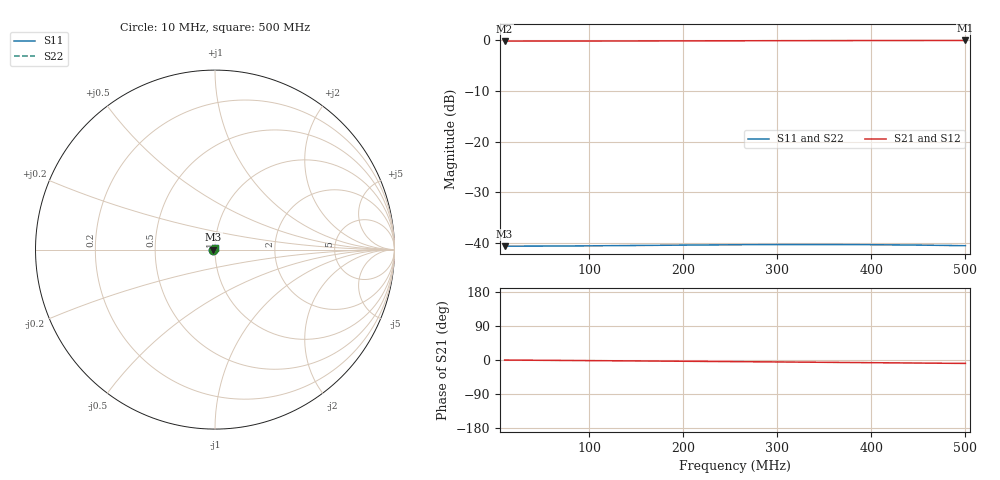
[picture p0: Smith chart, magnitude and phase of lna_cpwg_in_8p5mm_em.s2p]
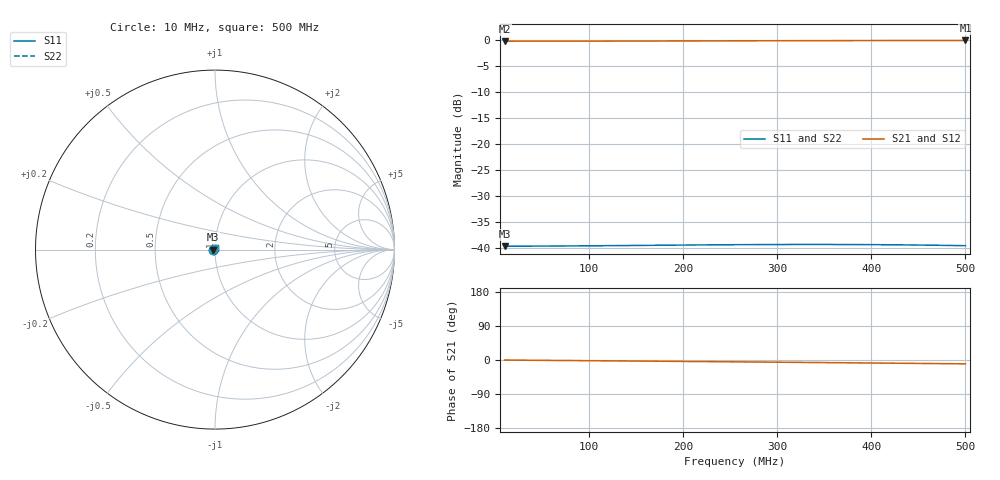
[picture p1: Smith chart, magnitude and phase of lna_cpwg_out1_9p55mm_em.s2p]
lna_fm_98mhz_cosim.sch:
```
<Qucs Schematic 25.2.0>
<Properties>
  <View=-50,-80,1200,800,1,0,0>
  <Grid=10,10,1>
  <DataSet=lna_fm_98mhz_cosim.dat>
  <DataDisplay=lna_fm_98mhz_cosim.dpl>
  <OpenDisplay=1>
  <Script=>
  <RunScript=0>
  <showFrame=0>
  <FrameText0=Title>
  <FrameText1=Drawn By:>
  <FrameText2=Date:>
  <FrameText3=Revision:>
</Properties>
<Symbol>
</Symbol>
<Components>
<SUBST Subst1 1 80 520 -30 24 0 0 "4.5" 1 "1.6 mm" 1 "35 um" 1 "0.02" 1 "1.72e-08" 0 "1.5e-07" 0>
<Pac P1 1 40 290 -85 -20 0 1 "1" 1 "50 Ohm" 1 "0 dBm" 0 "98 MHz" 0 "26.85" 0 "true" 0>
<GND * 1 40 320 0 0 0 0>
<SPfile TL_IN 1 100 260 -35 -40 0 0 "lna_cpwg_in_8p5mm_em.s2p" 1 "rectangular" 0 "linear" 0 "open" 0 "2" 0>
<L L1 1 180 290 -35 -26 0 1 "22 nH" 1 "" 0>
<GND * 1 180 320 0 0 0 0>
<C C2 1 210 290 15 -26 0 1 "27 pF" 1 "" 0 "neutral" 0>
<GND * 1 210 320 0 0 0 0>
<C C1 1 260 260 -25 -55 0 0 "91 pF" 1 "" 0 "neutral" 0>
<L L2 1 360 290 15 -26 0 1 "470 nH" 1 "" 0>
<R R3 1 360 350 15 -26 0 1 "200 Ohm" 1 "26.85" 0 "0.0" 0 "0.0" 0 "26.85" 0 "european" 0>
<GND * 1 360 380 0 0 0 0>
<_BJT Q1 1 540 230 15 10 0 0 "npn" 0 "1e-14" 0 "1" 0 "1" 0 "0.1" 0 "0.01" 0 "50" 0 "10" 0 "1e-14" 0 "1.5" 0 "0" 0 "2" 0 "90" 0 "2" 0 "0" 0 "0" 0 "10" 0 "1" 0 "5" 0 "1.2e-12" 0 "0.7" 0 "0.33" 0 "1e-12" 0 "0.5" 0 "0.33" 0 "1" 0 "0" 0 "0.75" 0 "0.33" 0 "0.5" 0 "0.09e-9" 0 "10e-9" 0 "10" 0 "1" 0 "0.1" 0>
<C C3 1 180 170 12 -15 0 1 "100 pF" 1 "" 0 "neutral" 0>
<GND * 1 180 200 0 0 0 0>
<C C4 1 260 170 12 -15 0 1 "1 nF" 1 "" 0 "neutral" 0>
<GND * 1 260 200 0 0 0 0>
<C C5 1 340 170 12 -15 0 1 "100 nF" 1 "" 0 "neutral" 0>
<GND * 1 340 200 0 0 0 0>
<R R2 1 420 170 15 -15 0 1 "3.3 kOhm" 1 "26.85" 0 "0.0" 0 "0.0" 0 "26.85" 0 "european" 0>
<GND * 1 420 200 0 0 0 0>
<R R1 1 470 105 15 -26 0 1 "3.9 kOhm" 1 "26.85" 0 "0.0" 0 "0.0" 0 "26.85" 0 "european" 0>
<Vdc VCC 1 80 100 -75 -20 0 1 "5 V" 1>
<GND * 1 80 130 0 0 0 0>
<C C11 1 150 100 15 -20 0 1 "10 uF" 1 "" 0 "neutral" 0>
<GND * 1 150 130 0 0 0 0>
<C C12 1 240 100 15 -20 0 1 "100 nF" 1 "" 0 "neutral" 0>
<GND * 1 240 130 0 0 0 0>
<CLIN TL_COL 1 600 200 -26 -105 0 0 "Subst1" 0 "1.0 mm" 1 "0.35 mm" 1 "6.6 mm" 1 "Metal" 0 "no" 0>
<L L3 1 700 135 15 -20 0 1 "150 nH" 1 "" 0>
<C C6 1 700 230 -65 -15 0 1 "6.8 pF" 1 "" 0 "neutral" 0>
<GND * 1 700 260 0 0 0 0>
<C C7 1 780 200 -25 25 0 0 "10 pF" 1 "" 0 "neutral" 0>
<SPfile TL_OUT1 1 870 200 -35 -40 0 0 "lna_cpwg_out1_9p55mm_em.s2p" 1 "rectangular" 0 "linear" 0 "open" 0 "2" 0>
<L L4 1 950 235 15 -20 0 1 "1 uH" 1 "" 0>
<C C9 1 1020 330 15 -15 0 1 "100 pF" 1 "" 0 "neutral" 0>
<GND * 1 1020 360 0 0 0 0>
<C C10 1 1100 330 15 -15 0 1 "10 nF" 1 "" 0 "neutral" 0>
<GND * 1 1100 360 0 0 0 0>
<R Rbt 1 1180 330 15 -15 0 1 "100 kOhm" 1 "26.85" 0 "0.0" 0 "0.0" 0 "26.85" 0 "european" 0>
<GND * 1 1180 360 0 0 0 0>
<SPfile TL_OUT2 1 1020 200 -35 -40 0 0 "lna_cpwg_out2_10mm_em.s2p" 1 "rectangular" 0 "linear" 0 "open" 0 "2" 0>
<Pac P2 1 1100 230 25 -20 0 1 "2" 1 "50 Ohm" 1 "0 dBm" 0 "98 MHz" 0 "26.85" 0 "true" 0>
<GND * 1 1100 260 0 0 0 0>
<.DC DC1 1 300 520 0 38 0 0 "26.85" 0 "0.001" 0 "1 pA" 0 "1 uV" 0 "no" 0 "150" 0 "no" 0 "none" 0 "CroutLU" 0>
<.SP SP1 1 460 520 0 56 0 0 "lin" 1 "70 MHz" 1 "130 MHz" 1 "61" 1 "no" 0 "1" 0 "2" 0 "no" 0 "no" 0>
<Eqn Eqn1 1 660 520 -28 15 0 0 "S11_dB=dB(S[1,1])" 1 "S21_dB=dB(S[2,1])" 1 "S12_dB=dB(S[1,2])" 1 "S22_dB=dB(S[2,2])" 1 "yes" 0>
</Components>
<Wires>
<40 260 70 260 "" 0 0 0 "">
<130 260 180 260 "" 0 0 0 "">
<180 260 210 260 "" 0 0 0 "">
<210 260 230 260 "" 0 0 0 "">
<290 260 360 260 "" 0 0 0 "">
<360 260 540 260 "" 0 0 0 "">
<510 140 510 230 "" 0 0 0 "">
<180 140 260 140 "" 0 0 0 "">
<260 140 340 140 "" 0 0 0 "">
<340 140 420 140 "" 0 0 0 "">
<420 140 470 140 "" 0 0 0 "">
<470 140 510 140 "" 0 0 0 "">
<470 70 470 75 "" 0 0 0 "">
<470 135 470 140 "" 0 0 0 "">
<80 70 150 70 "" 0 0 0 "">
<150 70 240 70 "" 0 0 0 "">
<240 70 470 70 "" 0 0 0 "">
<470 70 700 70 "" 0 0 0 "">
<540 200 570 200 "" 0 0 0 "">
<630 200 700 200 "" 0 0 0 "">
<700 70 700 105 "" 0 0 0 "">
<700 165 700 200 "" 0 0 0 "">
<700 200 750 200 "" 0 0 0 "">
<810 200 840 200 "" 0 0 0 "">
<900 200 950 200 "" 0 0 0 "">
<950 200 950 205 "" 0 0 0 "">
<950 265 950 300 "" 0 0 0 "">
<950 300 1020 300 "" 0 0 0 "">
<1020 300 1100 300 "" 0 0 0 "">
<1100 300 1180 300 "" 0 0 0 "">
<950 200 990 200 "" 0 0 0 "">
<1050 200 1100 200 "" 0 0 0 "">
</Wires>
<Diagrams>
  <Rect 1260 120 400 320 3 #c0c0c0 1 00 1 7e+07 1e+07 1.3e+08 0 -40 10 30 1 -1 0.5 1 315 0 225 1 0 0 "Frequency [Hz]" "dB" "">
    <"S21_dB" #ff0000 0 3 0 0 0>
    <"S11_dB" #0000ff 0 3 0 0 0>
  </Rect>
</Diagrams>
<Paintings>
  <Text 40 -30 14 #000000 0 "Common-Base 98 MHz FM LNA - 3D EM / Circuit Co-Simulation (Option A)">
  <Text 40 -55 11 #0000ff 0 "Physical 50-Ohm CPWG Lines from openEMS 3D FDTD Touchstone S2P | MMBT5179 CB Stage">
</Paintings>
```
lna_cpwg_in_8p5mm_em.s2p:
! Created with skrf 2.1.0 (http://scikit-rf.org).
# Hz S RI R 50.0
!freq ReS11 ImS11 ReS21 ImS21 ReS12 ImS12 ReS22 ImS22
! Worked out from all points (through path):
!   101 points, 10 MHz to 500 MHz, reference 50 ohm
!   highest |S21| = -0.02 dB at 500 MHz (marker M1); lowest = -0.1 dB at 10 MHz (marker M2)
!   group delay of S21, straight-line fit = 50.5 ps
!   lowest |S11| = -40.6 dB at 10 MHz (marker M3), VSWR 1.02, Z = 49.1 + j0.0412 ohm
!   |S11| at or under -10 dB: start of sweep to end of sweep
!   |S22| runs from -40.6 to -40.3 dB; largest |S21 - S12| = 4.5e-16
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1e7  -0.00929 0.00042  0.9838 -0.00273  0.9838 -0.00273  -0.00929 0.00042
4.92e7  -0.00909 0.00204  0.9841 -0.0135  0.9841 -0.0135  -0.00909 0.00204
8.84e7  -0.00865 0.00357  0.9846 -0.0244  0.9846 -0.0244  -0.00865 0.00357
1.717e8  -0.00711 0.00627  0.9864 -0.0485  0.9864 -0.0485  -0.00711 0.00627
2.55e8  -0.00522 0.00805  0.988 -0.0743  0.988 -0.0743  -0.00522 0.00805
3.236e8  -0.00373 0.0089  0.9887 -0.0967  0.9887 -0.0967  -0.00373 0.0089
3.824e8  -0.00262 0.00926  0.9885 -0.1164  0.9885 -0.1164  -0.00262 0.00926
4.118e8  -0.00214 0.00935  0.9881 -0.1264  0.9881 -0.1264  -0.00214 0.00935
4.412e8  -0.00171 0.00939  0.9875 -0.1364  0.9875 -0.1364  -0.00171 0.00939
4.706e8  -0.00134 0.00938  0.9867 -0.1465  0.9867 -0.1465  -0.00134 0.00938
5e8  -0.00101 0.00934  0.9857 -0.1566  0.9857 -0.1566  -0.00101 0.00934
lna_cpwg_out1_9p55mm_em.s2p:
! Created with skrf 2.1.0 (http://scikit-rf.org).
# Hz S RI R 50.0
!freq ReS11 ImS11 ReS21 ImS21 ReS12 ImS12 ReS22 ImS22
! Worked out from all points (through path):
!   101 points, 10 MHz to 500 MHz, reference 50 ohm
!   highest |S21| = -0.02 dB at 500 MHz (marker M1); lowest = -0.2 dB at 10 MHz (marker M2)
!   group delay of S21, straight-line fit = 56.7 ps
!   lowest |S11| = -39.6 dB at 10 MHz (marker M3), VSWR 1.02, Z = 49 + j0.0465 ohm
!   |S11| at or under -10 dB: start of sweep to end of sweep
!   |S22| runs from -39.6 to -39.3 dB; largest |S21 - S12| = 3.4e-16
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1e7  -0.0104 0.000475  0.9819 -0.00306  0.9819 -0.00306  -0.0104 0.000475
4.92e7  -0.0102 0.00231  0.9821 -0.0151  0.9821 -0.0151  -0.0102 0.00231
8.84e7  -0.00969 0.00404  0.9827 -0.0273  0.9827 -0.0273  -0.00969 0.00404
1.717e8  -0.00794 0.00708  0.9845 -0.0545  0.9845 -0.0545  -0.00794 0.00708
2.55e8  -0.00578 0.00909  0.9862 -0.0834  0.9862 -0.0834  -0.00578 0.00909
3.236e8  -0.00407 0.01  0.9866 -0.1085  0.9866 -0.1085  -0.00407 0.01
3.824e8  -0.00279 0.0104  0.9861 -0.1306  0.9861 -0.1306  -0.00279 0.0104
4.118e8  -0.00224 0.0105  0.9855 -0.1418  0.9855 -0.1418  -0.00224 0.0105
4.412e8  -0.00174 0.0106  0.9847 -0.1531  0.9847 -0.1531  -0.00174 0.0106
4.706e8  -0.00131 0.0106  0.9836 -0.1644  0.9836 -0.1644  -0.00131 0.0106
5e8  -0.000934 0.0105  0.9822 -0.1757  0.9822 -0.1757  -0.000934 0.0105
